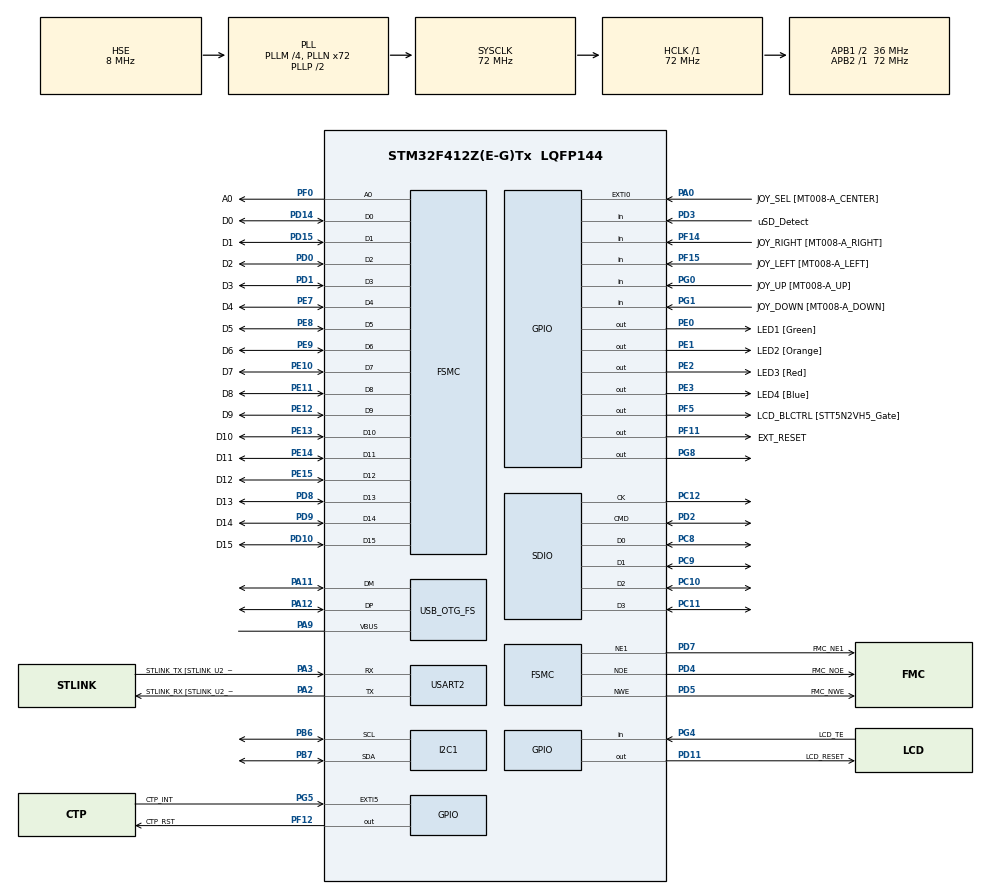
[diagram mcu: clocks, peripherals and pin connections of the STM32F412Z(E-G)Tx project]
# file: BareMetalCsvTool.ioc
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FATFS.BSP.number=1
FATFS0.BSP.STBoard=false
FATFS0.BSP.api=Unknown
FATFS0.BSP.instance=PD3
FATFS0.BSP.ip=GPIO
FATFS0.BSP.mode=Input
FATFS0.BSP.name=Detect_SDIO
FATFS0.BSP.solution=PD3
Mcu.Family=STM32F4
Mcu.Name=STM32F412Z(E-G)Tx
Mcu.Package=LQFP144
NVIC.OTG_FS_IRQn=true\:0\:0\:false\:false\:true\:false\:true\:true
NVIC.PriorityGroup=NVIC_PRIORITYGROUP_4
NVIC.SDIO_IRQn=true\:0\:0\:false\:false\:true\:true\:true\:true
NVIC.TIM6_IRQn=true\:0\:0\:false\:false\:true\:true\:true\:true
NVIC.USART2_IRQn=true\:0\:0\:false\:false\:true\:true\:true\:true
PA0.GPIO_Label=JOY_SEL [MT008-A_CENTER]
PA0.Signal=GPXTI0
PA11.Mode=Host_Only
PA11.Signal=USB_OTG_FS_DM
PA12.Mode=Host_Only
PA12.Signal=USB_OTG_FS_DP
PA13.GPIO_Label=SWDIO
PA13.Mode=Serial_Wire
PA13.Signal=SYS_JTMS-SWDIO
PA14.GPIO_Label=SWCLK
PA14.Mode=Serial_Wire
PA14.Signal=SYS_JTCK-SWCLK
PA2.GPIO_Label=STLINK_RX [STLINK_U2_RX]
PA2.Mode=Asynchronous
PA2.Signal=USART2_TX
PA3.GPIO_Label=STLINK_TX [STLINK_U2_TX]
PA3.Mode=Asynchronous
PA3.Signal=USART2_RX
PA9.Mode=Activate_VBUS
PA9.Signal=USB_OTG_FS_VBUS
PB3.GPIO_Label=SWO
PB3.Signal=SYS_JTDO-SWO
PB6.Mode=I2C
PB6.Signal=I2C1_SCL
PB7.Mode=I2C
PB7.Signal=I2C1_SDA
PB9.GPIO_Label=I2C2_SDA
PB9.GPIO_Pu=GPIO_PULLUP
PB9.Signal=I2C2_SDA
PC10.Mode=SD_4_bits_Wide_bus
PC10.Signal=SDIO_D2
PC11.Mode=SD_4_bits_Wide_bus
PC11.Signal=SDIO_D3
PC12.Mode=SD_4_bits_Wide_bus
PC12.Signal=SDIO_CK
PC14-OSC32_IN.Mode=LSE-External-Oscillator
PC14-OSC32_IN.Signal=RCC_OSC32_IN
PC15-OSC32_OUT.Mode=LSE-External-Oscillator
PC15-OSC32_OUT.Signal=RCC_OSC32_OUT
PC8.Mode=SD_4_bits_Wide_bus
PC8.Signal=SDIO_D0
PC9.Mode=SD_4_bits_Wide_bus
PC9.Signal=SDIO_D1
PD0.GPIO_Label=D2
PD0.Signal=FSMC_D2_DA2
PD1.GPIO_Label=D3
PD1.Signal=FSMC_D3_DA3
PD10.GPIO_Label=D15
PD10.Signal=FSMC_D15_DA15
PD11.GPIO_Label=LCD_RESET
PD11.Signal=GPIO_Output
PD14.GPIO_Label=D0
PD14.Signal=FSMC_D0_DA0
PD15.GPIO_Label=D1
PD15.Signal=FSMC_D1_DA1
PD2.Mode=SD_4_bits_Wide_bus
PD2.Signal=SDIO_CMD
PD3.GPIO_Label=uSD_Detect
PD3.Signal=GPIO_Input
PD4.GPIO_Label=FMC_NOE
PD4.Signal=FSMC_NOE
PD5.GPIO_Label=FMC_NWE
PD5.Signal=FSMC_NWE
PD7.GPIO_Label=FMC_NE1
PD7.Mode=NorPsramChipSelect1_1
PD7.Signal=FSMC_NE1
PD8.GPIO_Label=D13
PD8.Signal=FSMC_D13_DA13
PD9.GPIO_Label=D14
PD9.Signal=FSMC_D14_DA14
PE0.GPIO_Label=LED1 [Green]
PE0.GPIO_ModeDefaultOutputPP=GPIO_MODE_OUTPUT_OD
PE0.Signal=GPIO_Output
PE1.GPIO_Label=LED2 [Orange]
PE1.GPIO_ModeDefaultOutputPP=GPIO_MODE_OUTPUT_OD
PE1.Signal=GPIO_Output
PE10.GPIO_Label=D7
PE10.Signal=FSMC_D7_DA7
PE11.GPIO_Label=D8
PE11.Signal=FSMC_D8_DA8
PE12.GPIO_Label=D9
PE12.Signal=FSMC_D9_DA9
PE13.GPIO_Label=D10
PE13.Signal=FSMC_D10_DA10
PE14.GPIO_Label=D11
PE14.Signal=FSMC_D11_DA11
PE15.GPIO_Label=D12
PE15.Signal=FSMC_D12_DA12
PE2.GPIO_Label=LED3 [Red]
PE2.GPIO_ModeDefaultOutputPP=GPIO_MODE_OUTPUT_OD
PE2.Signal=GPIO_Output
PE3.GPIO_Label=LED4 [Blue]
PE3.GPIO_ModeDefaultOutputPP=GPIO_MODE_OUTPUT_OD
PE3.Signal=GPIO_Output
PE7.GPIO_Label=D4
PE7.Signal=FSMC_D4_DA4
PE8.GPIO_Label=D5
PE8.Signal=FSMC_D5_DA5
PE9.GPIO_Label=D6
PE9.Signal=FSMC_D6_DA6
PF0.GPIO_Label=A0
PF0.Signal=FSMC_A0
PF11.GPIO_Label=EXT_RESET
PF11.Signal=GPIO_Output
PF12.GPIO_Label=CTP_RST
PF12.Signal=GPIO_Output
PF14.GPIO_Label=JOY_RIGHT [MT008-A_RIGHT]
PF14.Signal=GPIO_Input
PF15.GPIO_Label=JOY_LEFT [MT008-A_LEFT]
PF15.Signal=GPIO_Input
PF5.GPIO_Label=LCD_BLCTRL [STT5N2VH5_Gate]
PF5.Signal=GPIO_Output
PG0.GPIO_Label=JOY_UP [MT008-A_UP]
PG0.Signal=GPIO_Input
PG1.GPIO_Label=JOY_DOWN [MT008-A_DOWN]
PG1.Signal=GPIO_Input
PG4.GPIO_Label=LCD_TE
PG4.Signal=GPIO_Input
PG5.GPIO_Label=CTP_INT
PG5.Signal=GPXTI5
PG8.GPIO_ModeDefaultOutputPP=GPIO_MODE_OUTPUT_OD
PG8.GPIO_PuPd=GPIO_NOPULL
PG8.Signal=GPIO_Output
PH0\ -\ OSC_IN.GPIO_Label=STLK_MCO
PH0\ -\ OSC_IN.Mode=HSE-External-Clock-Source
PH0\ -\ OSC_IN.Signal=RCC_OSC_IN
PH1\ -\ OSC_OUT.Mode=HSE-External-Clock-Source
PH1\ -\ OSC_OUT.Signal=RCC_OSC_OUT
ProjectManager.HeapSize=0x200
ProjectManager.StackSize=0x400
ProjectManager.TargetToolchain=CMake
RCC.48MHZClocksFreq_Value=48000000
RCC.AHBFreq_Value=72000000
RCC.APB1CLKDivider=RCC_HCLK_DIV2
RCC.APB1Freq_Value=36000000
RCC.APB1TimFreq_Value=72000000
RCC.APB2Freq_Value=72000000
RCC.APB2TimFreq_Value=72000000
RCC.CortexFreq_Value=72000000
RCC.HCLKFreq_Value=72000000
RCC.HSE_VALUE=8000000
RCC.HSI_VALUE=16000000
RCC.PLLI2SM=4
RCC.PLLI2SN=50
RCC.PLLM=4
RCC.PLLN=72
RCC.PLLQ=3
RCC.PLLSourceVirtual=RCC_PLLSOURCE_HSE
RCC.SYSCLKFreq_VALUE=72000000
RCC.SYSCLKSource=RCC_SYSCLKSOURCE_PLLCLK
RCC.USBFreq_Value=48000000
RCC.VCOOutputFreq_Value=144000000
SDIO.ClockDiv=118
SH.FSMC_A0.0=FSMC_A0,A0_1
SH.FSMC_D0_DA0.0=FSMC_D0,16b-d1
SH.FSMC_D10_DA10.0=FSMC_D10,16b-d1
SH.FSMC_D11_DA11.0=FSMC_D11,16b-d1
SH.FSMC_D12_DA12.0=FSMC_D12,16b-d1
SH.FSMC_D13_DA13.0=FSMC_D13,16b-d1
SH.FSMC_D14_DA14.0=FSMC_D14,16b-d1
SH.FSMC_D15_DA15.0=FSMC_D15,16b-d1
SH.FSMC_D1_DA1.0=FSMC_D1,16b-d1
SH.FSMC_D2_DA2.0=FSMC_D2,16b-d1
SH.FSMC_D3_DA3.0=FSMC_D3,16b-d1
SH.FSMC_D4_DA4.0=FSMC_D4,16b-d1
SH.FSMC_D5_DA5.0=FSMC_D5,16b-d1
SH.FSMC_D6_DA6.0=FSMC_D6,16b-d1
SH.FSMC_D7_DA7.0=FSMC_D7,16b-d1
SH.FSMC_D8_DA8.0=FSMC_D8,16b-d1
SH.FSMC_D9_DA9.0=FSMC_D9,16b-d1
SH.FSMC_NOE.0=FSMC_NOE,Lcd1
SH.FSMC_NWE.0=FSMC_NWE,Lcd1
TIM6.AutoReloadPreload=TIM_AUTORELOAD_PRELOAD_ENABLE
TIM6.Period=999
TIM6.Prescaler=71
TIM6.TIM_MasterOutputTrigger=TIM_TRGO_UPDATE
USART2.VirtualMode=VM_ASYNC
USB_HOST.BSP.number=1
USB_HOST.USBH_HandleTypeDef=hUsbHostFS
USB_HOST.VirtualModeFS=Hid
USB_HOST0.BSP.STBoard=false
USB_HOST0.BSP.api=Unknown
USB_HOST0.BSP.condition=SW_VBUS_DRIVE_HID_FS \= false
USB_HOST0.BSP.instance=PG8
USB_HOST0.BSP.ip=GPIO
USB_HOST0.BSP.mode=Output
USB_HOST0.BSP.name=Drive_VBUS_FS
USB_HOST0.BSP.solution=PG8
USB_OTG_FS.VirtualMode=Host_Only
USB_OTG_FS.phy_itface=HCD_PHY_EMBEDDED
VP_FATFS_VS_SDIO.Mode=SDIO
VP_TIM6_VS_ClockSourceINT.Mode=Enable_Timer
VP_USB_HOST_VS_USB_HOST_HID_FS.Mode=HID_FS
board=STM32F412G-DISCO

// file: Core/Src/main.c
/* USER CODE BEGIN Header */
// sudo minicom -D /dev/ttyACM0 -b 115200

/**
  ******************************************************************************
  * @file           : main.c
  * @brief          : Main program body
  ******************************************************************************
  * @attention
  *
  * Copyright (c) 2026 STMicroelectronics.
  * All rights reserved.
  *
  * This software is licensed under terms that can be found in the LICENSE file
  * in the root directory of this software component.
  * If no LICENSE file comes with this software, it is provided AS-IS.
  *
  ******************************************************************************
  */
/* USER CODE END Header */
#include "main.h"
#include "arena.h"
#include "csv_render.h"
#include "fatfs.h"
#include "stm32f4xx_hal_def.h"
#include "usb_host.h"

/* USER CODE BEGIN Includes */
#include "stm32f4xx_hal_uart.h"
#include "touchscreen.h"
#include "csv.h"
#include "csv_render.h"
#include "stm32412g_discovery.h"
#include "stm32412g_discovery_lcd.h"
#include "stm32f412zx.h"
#include "stm32f4xx_hal.h"
#include "stm32f4xx_hal_cortex.h"
#include "stm32f4xx_hal_gpio.h"
#include "stm32f4xx_hal_rcc_ex.h"
#include "stm32f4xx_hal_tim.h"
#include "stm32412g_discovery_ts.h"
#include "usbh_hid.h"
#include <stdint.h>
#include <stdio.h>
#include <stdlib.h>
#include <string.h>
#include "fs_browser.h"
#include "fs_render.h"
#include "menu_render.h"
#include "usbh_hid_keybd.h"
/* USER CODE END Includes */

/* USER CODE BEGIN PTD */
typedef enum {
    STATE_MENU,
    STATE_TABLE,
    STATE_FS_BROWSER
} AppState;

typedef struct {
  char buff[MAX_LEN_LINE];
  int cnt;
  int edit_row;
  int edit_col;
  uint8_t need_rendering;
} KBParams;

typedef struct {
  int selected_entry;
  uint16_t count_fentries;
} FSParams;

/* USER CODE END PTD */

I2C_HandleTypeDef hi2c1;

SD_HandleTypeDef hsd;

TIM_HandleTypeDef htim6;

UART_HandleTypeDef huart2;

SRAM_HandleTypeDef hsram1;

/* USER CODE BEGIN PV */
volatile JOYState_TypeDef StableJoyState = JOY_NONE;
volatile uint8_t joy_flag = 0;
volatile uint8_t ts_flag = 0;
static TS_StateTypeDef TS_State = {0};
uint8_t uart_rx_byte;
volatile uint8_t newChar_flag = 0;

extern ApplicationTypeDef Appli_state;
extern USBH_HandleTypeDef hUsbHostFS;
extern FS_Entry entries_buff[MAX_ENTRIES];
extern char current_path[MAX_PATH_LEN];
extern uint8_t is_tracking;
/* USER CODE END PV */

void SystemClock_Config(void);
static void MX_GPIO_Init(void);
static void MX_FSMC_Init(void);
static void MX_USART2_UART_Init(void);
static void MX_I2C1_Init(void);
static void MX_TIM6_Init(void);
static void MX_SDIO_SD_Init(void);
void MX_USB_HOST_Process(void);

/* USER CODE BEGIN PFP */
void process_menu_state(AppState* cur_state, Table** table, MenuParams* menu_params, FSParams* fs_params, RenderParams* render_params, KBParams* kb_params);
void process_table_state(AppState* cur_state, Table** table, MenuParams* menu_params, RenderParams* render_params, KBParams* kb_params);
void process_fs_browser_state(AppState* cur_state, Table** table, FSParams* fs_params, RenderParams* render_params, KBParams* kb_params);
/* USER CODE END PFP */

/* USER CODE BEGIN 0 */

int _write(int fd, char *ptr, int len) {
    for (int i = 0; i < len; i++) {
      if (ptr[i] == '\n') {
        uint8_t ch = '\r';
        HAL_UART_Transmit(&huart2, &ch, 1, HAL_MAX_DELAY);
      }
      HAL_UART_Transmit(&huart2, (uint8_t *)&ptr[i], 1, HAL_MAX_DELAY);
    }

    return len;
}

const char* csv_data[] = {
                ",A,B,C,VeryLongHeaderNameTooLongFloat,NextColumn\n"
                      "1,0,0,1,12,\n"
                      "2,2,=A1+C30,0,3,1\n"
                      "30,0,=6/B1,5,6,-2\n"
                      "32,1,15,6,,0\n"
                      "35,-45,22,0,=B2,0\n"
                      "39,7,,,,\n"
                      "42,3,2005,6,8,-1\n"
                      "52,11,25,6,,9\n"
                      "72,1,1,1,,0\n"
                      "30,1,1,6,,0\n"
                      "3210900,0,=B2*0,5,1,-5\n",

                  ",A,B,C,Very,Next,Cell\n"
                      "1,0,0,1,12,,1\n"
                      "2,2,=A1+C30,0,3,1,2\n"
                      "30,0,=6/B1,5,6,-2,23\n"
                      "32,1,15,6,,0,4444\n"
                      "35,-45,22,0,=B2,0,678\n"
                      "39,7,,,,,0\n"
                      "42,3,2005,6,8,-1,6\n"
                      "52,11,25,6,,9,67\n"
                      "72,1,1,1,,0,42\n"
                      "30,1,1,6,,0,13\n"
                      "3210900,0,=B2*0,5,1,-5,-120\n",

                  ",A\n"
                      "1,3\n"
                      "2,2,\n"
                      "30,0,\n"
                      "32,1\n"
                      "35,-45\n"
                      "39,7\n"
                      "42,3\n"
                      "52,11\n"
                      "72,1\n"
                      "30,1\n"
                      "3210900,0\n",
                    };

/* USER CODE END 0 */

int main(void)
{

  /* MCU Configuration--------------------------------------------------------*/

  /* Reset of all peripherals, Initializes the Flash interface and the Systick. */
  HAL_Init();

  /* USER CODE BEGIN Init */
  setvbuf(stdout, NULL, _IONBF, 0);
  /* USER CODE END Init */

  /* Configure the system clock */
  SystemClock_Config();

  /* Initialize all configured peripherals */
  MX_GPIO_Init();
  MX_FSMC_Init();
  MX_USART2_UART_Init();
  MX_I2C1_Init();
  MX_TIM6_Init();
  MX_SDIO_SD_Init();
  MX_FATFS_Init();
  MX_USB_HOST_Init();
  /* USER CODE BEGIN 2 */
  init_lcd();

  uint8_t status = 0;
  status = BSP_JOY_Init(JOY_MODE_GPIO);
  if (status != HAL_OK) {
      display_error("Failed to initialize joystick");
  }

  uint32_t ts_status = TS_OK;
  ts_status = BSP_TS_Init(BSP_LCD_GetXSize(), BSP_LCD_GetYSize());
  ts_status |= BSP_TS_ITConfig();

  if (ts_status != TS_OK) {
      display_error("Failed to initialize touchscreen");
  }

  AppState cur_state = STATE_MENU;
  Table* table = NULL;

  MenuParams menu_params = {
    .selected_table = 0,
    .total_tables = 3
  };
  RenderParams render_params = {0};
  FSParams fs_params = {0};
  KBParams kb_params = {0};

  display_main_menu(&menu_params);

  HAL_UART_Receive_IT(&huart2, &uart_rx_byte, 1);

  HAL_GPIO_WritePin(GPIOG, GPIO_PIN_8, GPIO_PIN_RESET);
  HAL_Delay(50);
  /* USER CODE END 2 */

  /* Infinite loop */
  /* USER CODE BEGIN WHILE */
  while (1)
  {
    MX_USB_HOST_Process();

    switch (cur_state) {
      case STATE_MENU:
        process_menu_state(&cur_state, &table, &menu_params, &fs_params, &render_params, &kb_params);
        break;

      case STATE_TABLE:
        process_table_state(&cur_state, &table, &menu_params, &render_params, &kb_params);
        break;

      case STATE_FS_BROWSER:
        process_fs_browser_state(&cur_state, &table, &fs_params, &render_params, &kb_params);
        break;

      default:
        break;
    }

    /* USER CODE END WHILE */
  }
}

void SystemClock_Config(void)
{
  RCC_OscInitTypeDef RCC_OscInitStruct = {0};
  RCC_ClkInitTypeDef RCC_ClkInitStruct = {0};

  /** Configure the main internal regulator output voltage
  */
  __HAL_RCC_PWR_CLK_ENABLE();
  __HAL_PWR_VOLTAGESCALING_CONFIG(PWR_REGULATOR_VOLTAGE_SCALE1);

  /** Initializes the RCC Oscillators according to the specified parameters
  * in the RCC_OscInitTypeDef structure.
  */
  RCC_OscInitStruct.OscillatorType = RCC_OSCILLATORTYPE_HSE;
  RCC_OscInitStruct.HSEState = RCC_HSE_BYPASS;
  RCC_OscInitStruct.PLL.PLLState = RCC_PLL_ON;
  RCC_OscInitStruct.PLL.PLLSource = RCC_PLLSOURCE_HSE;
  RCC_OscInitStruct.PLL.PLLM = 4;
  RCC_OscInitStruct.PLL.PLLN = 72;
  RCC_OscInitStruct.PLL.PLLP = RCC_PLLP_DIV2;
  RCC_OscInitStruct.PLL.PLLQ = 3;
  RCC_OscInitStruct.PLL.PLLR = 2;
  if (HAL_RCC_OscConfig(&RCC_OscInitStruct) != HAL_OK)
  {
    Error_Handler();
  }

  /** Initializes the CPU, AHB and APB buses clocks
  */
  RCC_ClkInitStruct.ClockType = RCC_CLOCKTYPE_HCLK|RCC_CLOCKTYPE_SYSCLK
                              |RCC_CLOCKTYPE_PCLK1|RCC_CLOCKTYPE_PCLK2;
  RCC_ClkInitStruct.SYSCLKSource = RCC_SYSCLKSOURCE_PLLCLK;
  RCC_ClkInitStruct.AHBCLKDivider = RCC_SYSCLK_DIV1;
  RCC_ClkInitStruct.APB1CLKDivider = RCC_HCLK_DIV2;
  RCC_ClkInitStruct.APB2CLKDivider = RCC_HCLK_DIV1;

  if (HAL_RCC_ClockConfig(&RCC_ClkInitStruct, FLASH_LATENCY_2) != HAL_OK)
  {
    Error_Handler();
  }
}

static void MX_I2C1_Init(void)
{

  hi2c1.Instance = I2C1;
  hi2c1.Init.ClockSpeed = 100000;
  hi2c1.Init.DutyCycle = I2C_DUTYCYCLE_2;
  hi2c1.Init.OwnAddress1 = 0;
  hi2c1.Init.AddressingMode = I2C_ADDRESSINGMODE_7BIT;
  hi2c1.Init.DualAddressMode = I2C_DUALADDRESS_DISABLE;
  hi2c1.Init.OwnAddress2 = 0;
  hi2c1.Init.GeneralCallMode = I2C_GENERALCALL_DISABLE;
  hi2c1.Init.NoStretchMode = I2C_NOSTRETCH_DISABLE;
  if (HAL_I2C_Init(&hi2c1) != HAL_OK)
  {
    Error_Handler();
  }

}

static void MX_SDIO_SD_Init(void)
{

  hsd.Instance = SDIO;
  hsd.Init.ClockEdge = SDIO_CLOCK_EDGE_RISING;
  hsd.Init.ClockBypass = SDIO_CLOCK_BYPASS_DISABLE;
  hsd.Init.ClockPowerSave = SDIO_CLOCK_POWER_SAVE_DISABLE;
  hsd.Init.BusWide = SDIO_BUS_WIDE_1B;
  hsd.Init.HardwareFlowControl = SDIO_HARDWARE_FLOW_CONTROL_DISABLE;
  hsd.Init.ClockDiv = 118;

}

static void MX_TIM6_Init(void)
{

  TIM_MasterConfigTypeDef sMasterConfig = {0};

  htim6.Instance = TIM6;
  htim6.Init.Prescaler = 71;
  htim6.Init.CounterMode = TIM_COUNTERMODE_UP;
  htim6.Init.Period = 999;
  htim6.Init.AutoReloadPreload = TIM_AUTORELOAD_PRELOAD_ENABLE;
  if (HAL_TIM_Base_Init(&htim6) != HAL_OK)
  {
    Error_Handler();
  }
  sMasterConfig.MasterOutputTrigger = TIM_TRGO_UPDATE;
  sMasterConfig.MasterSlaveMode = TIM_MASTERSLAVEMODE_DISABLE;
  if (HAL_TIMEx_MasterConfigSynchronization(&htim6, &sMasterConfig) != HAL_OK)
  {
    Error_Handler();
  }
  /* USER CODE BEGIN TIM6_Init 2 */
  __HAL_RCC_TIM6_CLK_ENABLE(); //
  HAL_NVIC_SetPriority(TIM6_IRQn, 0, 0);
  HAL_NVIC_EnableIRQ(TIM6_IRQn);

  HAL_TIM_Base_Init(&htim6);
  HAL_TIM_Base_Start_IT(&htim6);
  /* USER CODE END TIM6_Init 2 */

}

static void MX_USART2_UART_Init(void)
{

  huart2.Instance = USART2;
  huart2.Init.BaudRate = 115200;
  huart2.Init.WordLength = UART_WORDLENGTH_8B;
  huart2.Init.StopBits = UART_STOPBITS_1;
  huart2.Init.Parity = UART_PARITY_NONE;
  huart2.Init.Mode = UART_MODE_TX_RX;
  huart2.Init.HwFlowCtl = UART_HWCONTROL_NONE;
  huart2.Init.OverSampling = UART_OVERSAMPLING_16;
  if (HAL_UART_Init(&huart2) != HAL_OK)
  {
    Error_Handler();
  }

}

static void MX_GPIO_Init(void)
{
  GPIO_InitTypeDef GPIO_InitStruct = {0};

  /* GPIO Ports Clock Enable */
  __HAL_RCC_GPIOE_CLK_ENABLE();
  __HAL_RCC_GPIOC_CLK_ENABLE();
  __HAL_RCC_GPIOF_CLK_ENABLE();
  __HAL_RCC_GPIOH_CLK_ENABLE();
  __HAL_RCC_GPIOA_CLK_ENABLE();
  __HAL_RCC_GPIOG_CLK_ENABLE();
  __HAL_RCC_GPIOD_CLK_ENABLE();
  __HAL_RCC_GPIOB_CLK_ENABLE();

  /*Configure GPIO pin Output Level */
  HAL_GPIO_WritePin(GPIOE, LED3_Pin|LED4_Pin|LED1_Pin|LED2_Pin, GPIO_PIN_RESET);

  /*Configure GPIO pin Output Level */
  HAL_GPIO_WritePin(GPIOF, LCD_BLCTRL_Pin|EXT_RESET_Pin|CTP_RST_Pin, GPIO_PIN_RESET);

  /*Configure GPIO pin Output Level */
  HAL_GPIO_WritePin(LCD_RESET_GPIO_Port, LCD_RESET_Pin, GPIO_PIN_RESET);

  /*Configure GPIO pin Output Level */
  HAL_GPIO_WritePin(GPIOG, GPIO_PIN_8, GPIO_PIN_RESET);

  /*Configure GPIO pins : LED3_Pin LED4_Pin LED1_Pin LED2_Pin */
  GPIO_InitStruct.Pin = LED3_Pin|LED4_Pin|LED1_Pin|LED2_Pin;
  GPIO_InitStruct.Mode = GPIO_MODE_OUTPUT_OD;
  GPIO_InitStruct.Pull = GPIO_NOPULL;
  GPIO_InitStruct.Speed = GPIO_SPEED_FREQ_LOW;
  HAL_GPIO_Init(GPIOE, &GPIO_InitStruct);

  /*Configure GPIO pins : LCD_BLCTRL_Pin EXT_RESET_Pin CTP_RST_Pin */
  GPIO_InitStruct.Pin = LCD_BLCTRL_Pin|EXT_RESET_Pin|CTP_RST_Pin;
  GPIO_InitStruct.Mode = GPIO_MODE_OUTPUT_PP;
  GPIO_InitStruct.Pull = GPIO_NOPULL;
  GPIO_InitStruct.Speed = GPIO_SPEED_FREQ_LOW;
  HAL_GPIO_Init(GPIOF, &GPIO_InitStruct);

  /*Configure GPIO pin : JOY_SEL_Pin */
  GPIO_InitStruct.Pin = JOY_SEL_Pin;
  GPIO_InitStruct.Mode = GPIO_MODE_IT_RISING;
  GPIO_InitStruct.Pull = GPIO_NOPULL;
  HAL_GPIO_Init(JOY_SEL_GPIO_Port, &GPIO_InitStruct);

  /*Configure GPIO pins : JOY_RIGHT_Pin JOY_LEFT_Pin */
  GPIO_InitStruct.Pin = JOY_RIGHT_Pin|JOY_LEFT_Pin;
  GPIO_InitStruct.Mode = GPIO_MODE_INPUT;
  GPIO_InitStruct.Pull = GPIO_NOPULL;
  HAL_GPIO_Init(GPIOF, &GPIO_InitStruct);

  /*Configure GPIO pins : JOY_UP_Pin JOY_DOWN_Pin LCD_TE_Pin */
  GPIO_InitStruct.Pin = JOY_UP_Pin|JOY_DOWN_Pin|LCD_TE_Pin;
  GPIO_InitStruct.Mode = GPIO_MODE_INPUT;
  GPIO_InitStruct.Pull = GPIO_NOPULL;
  HAL_GPIO_Init(GPIOG, &GPIO_InitStruct);

  /*Configure GPIO pin : LCD_RESET_Pin */
  GPIO_InitStruct.Pin = LCD_RESET_Pin;
  GPIO_InitStruct.Mode = GPIO_MODE_OUTPUT_PP;
  GPIO_InitStruct.Pull = GPIO_NOPULL;
  GPIO_InitStruct.Speed = GPIO_SPEED_FREQ_LOW;
  HAL_GPIO_Init(LCD_RESET_GPIO_Port, &GPIO_InitStruct);

  /*Configure GPIO pin : CTP_INT_Pin */
  GPIO_InitStruct.Pin = CTP_INT_Pin;
  GPIO_InitStruct.Mode = GPIO_MODE_IT_RISING;
  GPIO_InitStruct.Pull = GPIO_NOPULL;
  HAL_GPIO_Init(CTP_INT_GPIO_Port, &GPIO_InitStruct);

  /*Configure GPIO pin : PG8 */
  GPIO_InitStruct.Pin = GPIO_PIN_8;
  GPIO_InitStruct.Mode = GPIO_MODE_OUTPUT_OD;
  GPIO_InitStruct.Pull = GPIO_NOPULL;
  GPIO_InitStruct.Speed = GPIO_SPEED_FREQ_LOW;
  HAL_GPIO_Init(GPIOG, &GPIO_InitStruct);

  /*Configure GPIO pin : uSD_Detect_Pin */
  GPIO_InitStruct.Pin = uSD_Detect_Pin;
  GPIO_InitStruct.Mode = GPIO_MODE_INPUT;
  GPIO_InitStruct.Pull = GPIO_NOPULL;
  HAL_GPIO_Init(uSD_Detect_GPIO_Port, &GPIO_InitStruct);

  /*Configure GPIO pin : I2C2_SDA_Pin */
  GPIO_InitStruct.Pin = I2C2_SDA_Pin;
  GPIO_InitStruct.Mode = GPIO_MODE_AF_OD;
  GPIO_InitStruct.Pull = GPIO_PULLUP;
  GPIO_InitStruct.Speed = GPIO_SPEED_FREQ_VERY_HIGH;
  GPIO_InitStruct.Alternate = GPIO_AF9_I2C2;
  HAL_GPIO_Init(I2C2_SDA_GPIO_Port, &GPIO_InitStruct);

}

/* FSMC initialization function */
static void MX_FSMC_Init(void)
{

  FSMC_NORSRAM_TimingTypeDef Timing = {0};

  /** Perform the SRAM1 memory initialization sequence
  */
  hsram1.Instance = FSMC_NORSRAM_DEVICE;
  hsram1.Extended = FSMC_NORSRAM_EXTENDED_DEVICE;
  /* hsram1.Init */
  hsram1.Init.NSBank = FSMC_NORSRAM_BANK1;
  hsram1.Init.DataAddressMux = FSMC_DATA_ADDRESS_MUX_DISABLE;
  hsram1.Init.MemoryType = FSMC_MEMORY_TYPE_SRAM;
  hsram1.Init.MemoryDataWidth = FSMC_NORSRAM_MEM_BUS_WIDTH_16;
  hsram1.Init.BurstAccessMode = FSMC_BURST_ACCESS_MODE_DISABLE;
  hsram1.Init.WaitSignalPolarity = FSMC_WAIT_SIGNAL_POLARITY_LOW;
  hsram1.Init.WaitSignalActive = FSMC_WAIT_TIMING_BEFORE_WS;
  hsram1.Init.WriteOperation = FSMC_WRITE_OPERATION_ENABLE;
  hsram1.Init.WaitSignal = FSMC_WAIT_SIGNAL_DISABLE;
  hsram1.Init.ExtendedMode = FSMC_EXTENDED_MODE_DISABLE;
  hsram1.Init.AsynchronousWait = FSMC_ASYNCHRONOUS_WAIT_DISABLE;
  hsram1.Init.WriteBurst = FSMC_WRITE_BURST_DISABLE;
  hsram1.Init.ContinuousClock = FSMC_CONTINUOUS_CLOCK_SYNC_ONLY;
  hsram1.Init.WriteFifo = FSMC_WRITE_FIFO_ENABLE;
  hsram1.Init.PageSize = FSMC_PAGE_SIZE_NONE;
  /* Timing */
  Timing.AddressSetupTime = 15;
  Timing.AddressHoldTime = 15;
  Timing.DataSetupTime = 255;
  Timing.BusTurnAroundDuration = 15;
  Timing.CLKDivision = 16;
  Timing.DataLatency = 17;
  Timing.AccessMode = FSMC_ACCESS_MODE_A;
  /* ExtTiming */

  if (HAL_SRAM_Init(&hsram1, &Timing, NULL) != HAL_OK)
  {
    Error_Handler( );
  }

}

/* USER CODE BEGIN 4 */
void HAL_TIM_PeriodElapsedCallback(TIM_HandleTypeDef *htim) {
  static int count = 0;
  static JOYState_TypeDef newStableState = 0;

  JOYState_TypeDef current_state = BSP_JOY_GetState();

  if (htim->Instance == TIM6) {
    if (newStableState == current_state) {
      count++;
    }
    else {
      newStableState = current_state;
      count = 0;
    };

    uint8_t needed_ticks = (newStableState == JOY_NONE) ? 40 : 10; // 40 ms for release 10 ms for new state stable
    if (count == needed_ticks) {
      if (StableJoyState != newStableState) {
        if (newStableState != JOY_NONE && StableJoyState == JOY_NONE) {
          joy_flag = 1;
        }
        StableJoyState = newStableState;
      }
    }
  }
}

void HAL_GPIO_EXTI_Callback(uint16_t GPIO_Pin) {
  if (GPIO_Pin == CTP_INT_Pin) {
    ts_flag = 1;
  }
}

void HAL_UART_RxCpltCallback(UART_HandleTypeDef *huart) {
  if (huart->Instance == USART2) {
      newChar_flag = 1;
      HAL_UART_Receive_IT(&huart2, &uart_rx_byte, 1);
  }
}

void process_menu_state(AppState* cur_state, Table** table, MenuParams* menu_params, FSParams* fs_params, RenderParams* render_params, KBParams* kb_params){
  if (*table != NULL) {
    free_table(*table);
    *table = NULL;
  }
  if (!joy_flag) {
    return;
  }

  joy_flag = 0;
  switch (StableJoyState) {
    case JOY_UP:{
      if (menu_params->selected_table > 0) {
        menu_params->selected_table--;
        display_main_menu(menu_params);
      }
      break;
    }

    case JOY_DOWN:{
      if (menu_params->selected_table < menu_params->total_tables) {
        menu_params->selected_table++;
        display_main_menu(menu_params);
      }
      break;
    }

    case JOY_SEL:{
      if (menu_params->selected_table == menu_params->total_tables) {
        if (!fs_browser_mount()) {
          display_error("Failed to mount SD card");
          Error_Handler();
        }
        fs_params->count_fentries = display_fs_browser(fs_params->selected_entry);

        *cur_state = STATE_FS_BROWSER;
        break;
      }

      *table = read_csv_from_strmem(csv_data[menu_params->selected_table]);
      if (*table == NULL) {
        display_error("Failed to parse CSV data");
        break;
      }

      evaluate_all(*table);
      *render_params = (RenderParams){0};

      render_table_to_lcd(*table, render_params->start_row, render_params->start_col);
      highlight_cell(*table,
          render_params->new_row, render_params->new_col,
          render_params->start_row, render_params->start_col);

      *cur_state = STATE_TABLE;
      StableJoyState = JOY_NONE;
      break;
    }

    default:
      break;
  }
}

void process_table_state(AppState* cur_state, Table** table, MenuParams* menu_params, RenderParams* render_params, KBParams* kb_params) {
  if (ts_flag || is_tracking) {
    ts_flag = 0;

    BSP_TS_GetState(&TS_State);
    calibrate_coords(&TS_State.touchX[0], &TS_State.touchY[0]);

    uint16_t click_x = 0, click_y = 0;
    uint8_t gest_id = getGestureID(&TS_State, &click_x, &click_y);

    int old_s_row = render_params->start_row;
    int old_s_col = render_params->start_col;

    if (gest_id != GEST_ID_NO_GESTURE) {
      switch (gest_id) {
        case GEST_ID_MOVE_LEFT:
          if (can_scroll_right(*table, render_params->start_row, render_params->start_col)) render_params->start_col++;
          break;
        case GEST_ID_MOVE_RIGHT:
          if (render_params->start_col > 0) render_params->start_col--;
          break;
        case GEST_ID_MOVE_UP:
          if (can_scroll_down(*table, render_params->start_row)) render_params->start_row++;
          break;
        case GEST_ID_MOVE_DOWN:
          if (render_params->start_row > 0) render_params->start_row--;
          break;
        case GEST_ID_CLICK: {
          int clicked_row = get_clicked_row(render_params->start_row, click_y);
          int clicked_col = get_clicked_col(*table, render_params->start_col, render_params->start_row, click_x);

          if (clicked_row >= -1 && clicked_col >= -1 && (clicked_row != -1 || clicked_col != -1)) {
            unhighlight_cell(*table, render_params->new_row, render_params->new_col, render_params->start_row, render_params->start_col);

            render_params->new_row = clicked_row;
            render_params->new_col = clicked_col;
            close_edit_mode(*table, &kb_params->edit_row, &kb_params->edit_col, render_params->start_row, render_params->start_col, render_params->viewport_changed, &kb_params->need_rendering);
            kb_params->cnt = 0;
            kb_params->buff[0] = '\0';

            highlight_cell(*table, render_params->new_row, render_params->new_col, render_params->start_row, render_params->start_col);
          }
          break;
        }
      }
    }

    if (render_params->start_col != old_s_col || render_params->start_row != old_s_row) {
      render_table_to_lcd(*table, render_params->start_row, render_params->start_col);
      highlight_cell(*table, render_params->new_row, render_params->new_col, render_params->start_row, render_params->start_col);
    }
  }

  if (joy_flag) {
    joy_flag = 0;
    render_params->prev_row = render_params->new_row;
    render_params->prev_col = render_params->new_col;

    switch (StableJoyState) {
      case JOY_UP:
        if (render_params->new_row - render_params->start_row >= -1) {
          if ((render_params->new_row == 0 && render_params->new_col == -1) || render_params->new_row == -1) break;
          render_params->new_row--;
        }
        break;
      case JOY_DOWN:
        if (render_params->new_row < (*table)->row_count - 1) {
            render_params->new_row++;
        }
        break;
      case JOY_LEFT:
        if (render_params->new_col - render_params->start_col >= -1) {
          if ((render_params->new_col == 0 && render_params->new_row == -1) || render_params->new_col == -1) break;
            render_params->new_col--;
        }
        break;
      case JOY_RIGHT:
        if (render_params->new_col < (*table)->col_count - 1) {
            render_params->new_col++;
        }
        break;

      case JOY_SEL:
        if (menu_params->selected_table == menu_params->total_tables) {
          save_table(*table, current_path);
        }
        free_table(*table);
        *table = NULL;
        display_main_menu(menu_params);
        StableJoyState = JOY_NONE;
        *cur_state = STATE_MENU;
        return;

      default:
        break;
    }

    if (StableJoyState != JOY_NONE) {
        close_edit_mode(*table, &kb_params->edit_row, &kb_params->edit_col, render_params->start_row, render_params->start_col, render_params->viewport_changed, &kb_params->need_rendering);
        kb_params->cnt = 0;
        kb_params->buff[0] = '\0';
        update_viewport(render_params->new_row, render_params->new_col, &render_params->start_row, &render_params->start_col, *table, &render_params->viewport_changed);

        if (render_params->viewport_changed) {
            render_table_to_lcd(*table, render_params->start_row, render_params->start_col);
        } else {
            unhighlight_cell(*table, render_params->prev_row, render_params->prev_col, render_params->start_row, render_params->start_col);
        }

        if (!highlight_cell(*table, render_params->new_row, render_params->new_col, render_params->start_row, render_params->start_col)) {
          render_params->new_row = render_params->prev_row;
          render_params->new_col = render_params->prev_col;
          highlight_cell(*table, render_params->new_row, render_params->new_col, render_params->start_row, render_params->start_col);
        }
    }
  }

  if (newChar_flag && render_params->new_row != -1 && render_params->new_col != -1) {
    int dummyX = 0, dummyY = 0;
    find_cell_pos(*table, render_params->new_row, render_params->new_col, &dummyX, &dummyY, render_params->start_row, render_params->start_col);
    dummyY += LCD_DEFAULT_FONT.Height / 2;
    Cell* cell = &(*table)->grid[render_params->new_row * (*table)->col_count + render_params->new_col];

    if (kb_params->cnt == 0 && kb_params->buff[0] == '\0') {
      kb_params->edit_col = render_params->new_col;
      kb_params->edit_row = render_params->new_row;
      if (cell->raw_data != NULL) {
        kb_params->cnt = strlen(cell->raw_data);
        strncpy(kb_params->buff, cell->raw_data, kb_params->cnt);
      } else {
        kb_params->cnt = 0;
      }

      kb_params->buff[kb_params->cnt] = '\0';
      clear_cell(*table, render_params->new_row, render_params->new_col, render_params->start_row, render_params->start_col, (uint16_t)0x74FA);
    }

    if (uart_rx_byte == '\n' || uart_rx_byte == '\r') {
      kb_params->buff[kb_params->cnt] = '\0';
      if (render_params->new_row != -1 && render_params->new_col != -1) {
        int old_max_col_w = get_max_col_len(*table, render_params->start_row, render_params->new_col, render_params->start_col);
        cell->raw_data = arena_strdup(&table_arena, kb_params->buff);
        cell->state = RAW;
        if (evaluate_all(*table)) {
          kb_params->need_rendering = 1;
        }
        if (old_max_col_w != get_max_col_len(*table, render_params->start_row, render_params->new_col, render_params->start_col) || kb_params->need_rendering) {
          update_viewport(render_params->new_row, render_params->new_col, &render_params->start_row, &render_params->start_col, *table, &render_params->viewport_changed);
          render_table_to_lcd(*table, render_params->start_row, render_params->start_col);
          kb_params->need_rendering = 0;
        }
        highlight_cell(*table, render_params->new_row, render_params->new_col, render_params->start_row, render_params->start_col);
      }
      kb_params->cnt = 0;
      kb_params->buff[0] = '\0';
      kb_params->edit_row = -2;
      kb_params->edit_col = -2;

    } else {
      if (kb_params->cnt < MAX_LEN_FIELD) {
        if (uart_rx_byte == '\b' && kb_params->cnt > 0) {
          kb_params->buff[kb_params->cnt] = '\0';
          kb_params->buff[--kb_params->cnt] = '\b';
          int cur_col = get_clicked_col(*table, render_params->start_col, render_params->start_row, dummyX + (kb_params->cnt + 1) * LCD_DEFAULT_FONT.Width);
          uint16_t cur_color = get_cell_color(kb_params->edit_row, cur_col);
          BSP_LCD_SetTextColor(cur_color);
          BSP_LCD_SetBackColor(cur_color);
          BSP_LCD_FillRect(dummyX + (kb_params->cnt + 1) * LCD_DEFAULT_FONT.Width, dummyY - LCD_DEFAULT_FONT.Height / 2, LCD_DEFAULT_FONT.Width, 24);
          BSP_LCD_SetBackColor((uint16_t)0x74FA);
          int dummyx2 = 0;
          find_cell_pos(*table, kb_params->edit_row, cur_col, &dummyx2, &(int){0}, render_params->start_row, render_params->start_col);
          if (dummyx2 > dummyX + (kb_params->cnt) * LCD_DEFAULT_FONT.Width) {
            draw_cell(*table, kb_params->edit_row, cur_col, &(int){0}, &(int){0}, render_params->start_row, render_params->start_col, cur_color, 0);
            BSP_LCD_SetBackColor((uint16_t)0x74FA);
          }
        } else if (uart_rx_byte != '\b') {
          kb_params->buff[kb_params->cnt++] = uart_rx_byte;
          kb_params->buff[kb_params->cnt] = '\0';
        }

        int cell_w = get_max_col_len(*table, render_params->start_row, render_params->new_col, render_params->start_col);
        if (cell_w < (kb_params->cnt + 1) * LCD_DEFAULT_FONT.Width) {
          cell_w = (kb_params->cnt + 1) * LCD_DEFAULT_FONT.Width;
          kb_params->need_rendering = 1;
        }
        if (dummyX + (kb_params->cnt + 1) * LCD_DEFAULT_FONT.Width > 240) {
          kb_params->buff[--kb_params->cnt] = '\0';
          cell_w -= LCD_DEFAULT_FONT.Width;
        }

        BSP_LCD_SetTextColor((uint16_t)0x74FA);
        BSP_LCD_FillRect(dummyX, dummyY - LCD_DEFAULT_FONT.Height / 2, cell_w, 24);
        BSP_LCD_SetTextColor(LCD_COLOR_DARKBLUE);
        BSP_LCD_DisplayStringAt(dummyX, dummyY, (uint8_t*)kb_params->buff, 0);
      }

      BSP_LCD_DisplayChar(dummyX + (kb_params->cnt) * LCD_DEFAULT_FONT.Width, dummyY, '_');
    }

    newChar_flag = 0;
  }
}

void process_fs_browser_state(AppState* cur_state, Table** table, FSParams* fs_params, RenderParams* render_params, KBParams* kb_params) {
  if (joy_flag) {
    joy_flag = 0;
    switch (StableJoyState) {
      case JOY_UP:
        if (fs_params->selected_entry > 0) {
          fs_params->selected_entry--;
          fs_params->count_fentries = display_fs_browser(fs_params->selected_entry);
        }
        break;

      case JOY_DOWN:
        if (fs_params->selected_entry < fs_params->count_fentries - 1) {
          fs_params->selected_entry++;
          fs_params->count_fentries = display_fs_browser(fs_params->selected_entry);
        }
        break;

      case JOY_SEL:
        if (!entries_buff[fs_params->selected_entry].is_dir) {
          fs_path_append(current_path, entries_buff[fs_params->selected_entry].name);
          *table = read_csv_from_file(entries_buff[fs_params->selected_entry].name);
          if (*table == NULL) {
            display_error("Failed to parse CSV data");
            break;
          }
          evaluate_all(*table);

          *render_params = (RenderParams){0};
          *kb_params = (KBParams){ .edit_row = -2, .edit_col = -2 };

          render_table_to_lcd(*table, render_params->start_row, render_params->start_col);
          highlight_cell(*table, render_params->new_row, render_params->new_col, render_params->start_row, render_params->start_col);

          *cur_state = STATE_TABLE;
          StableJoyState = JOY_NONE;
        } else {
          if (strcmp(entries_buff[fs_params->selected_entry].name, "..") == 0) {
            fs_path_remove_last(current_path);
          } else {
            fs_path_append(current_path, entries_buff[fs_params->selected_entry].name);
          }
          fs_params->selected_entry = 0;
          fs_params->count_fentries = display_fs_browser(fs_params->selected_entry);
        }
        break;

      default:
        break;
    }
  }
}

void USBH_HID_EventCallback(USBH_HandleTypeDef *phost) {
  if (USBH_HID_GetDeviceType(phost) == HID_KEYBOARD) {
    HID_KEYBD_Info_TypeDef *k_info = USBH_HID_GetKeybdInfo(phost);
    if (k_info != NULL) {
      if (k_info->keys[0] != 0) {
        uart_rx_byte = USBH_HID_GetASCIICode(k_info);
        if (uart_rx_byte != '\0') newChar_flag = 1;
      }
    }
  }
}

/* USER CODE END 4 */

void Error_Handler(void)
{
  __disable_irq();
  while (1)
  {
  }
}
